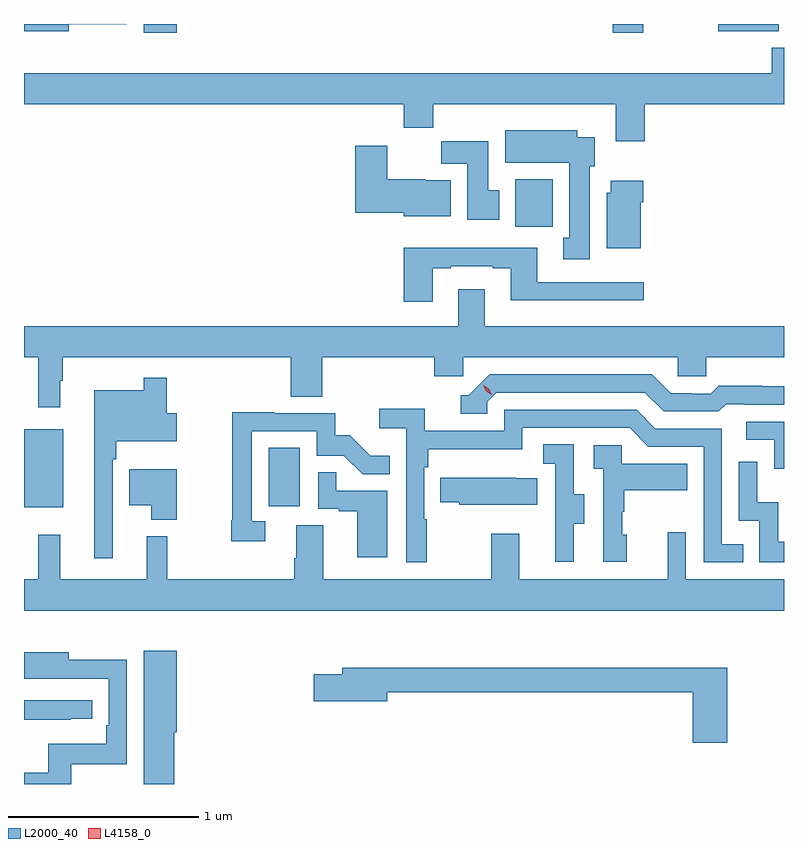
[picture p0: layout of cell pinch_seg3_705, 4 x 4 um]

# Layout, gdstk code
import gdstk
lib = gdstk.Library(unit=1e-6, precision=1e-09)
def R(c, l, rs):  # rectangles x0, y0, x1, y1
    for r in rs: c.add(gdstk.rectangle(r[:2], r[2:], *l))
def P(c, l, *ps):  # polygons
    for p in ps: c.add(gdstk.Polygon(p, *l))
L2000_40 = (2000, 40)
L4158_0 = (4158, 0)

pinch_seg3_705 = lib.new_cell('pinch_seg3_705')
R(pinch_seg3_705, L2000_40, [(1119.299,681.479,1119.505,681.889), (1120.586,681.486,1120.75,681.793), (1121.885,682.956,1122.081,683.206), (1119.929,683.976,1120.102,684.023), (1122.398,683.976,1122.559,684.023)])
P(pinch_seg3_705, L2000_40, [(1123.271,684.023),(1122.648,684.023),(1122.648,684.022),(1122.953,684.022),(1122.953,683.984),(1123.271,683.984)],
  [(1119.535,684.022),(1119.84,684.022),(1119.84,684.023),(1119.299,684.023),(1119.299,683.984),(1119.535,683.984)],
  [(1122.566,683.6),(1123.299,683.6),(1123.299,683.899),(1123.235,683.899),(1123.235,683.764),(1119.299,683.764),(1119.299,683.6),(1121.297,683.6),(1121.297,683.476),(1121.453,683.476),(1121.453,683.6),(1122.413,683.6),(1122.413,683.406),(1122.566,683.406)],
  [(1122.277,683.274),(1122.304,683.274),(1122.304,683.428),(1122.211,683.428),(1122.211,683.464),(1121.831,683.464),(1121.831,683.294),(1122.17,683.294),(1122.17,682.897),(1122.137,682.897),(1122.137,682.785),(1122.277,682.785)],
  [(1121.8,683.148),(1121.743,683.148),(1121.743,683.406),(1121.494,683.406),(1121.494,683.288),(1121.633,683.288),(1121.633,682.992),(1121.8,682.992)],
  [(1121.545,683.2),(1121.412,683.2),(1121.412,683.206),(1121.212,683.206),(1121.212,683.383),(1121.042,683.383),(1121.042,683.03),(1121.298,683.03),(1121.298,683.012),(1121.545,683.012)],
  [(1122.544,683.084),(1122.557,683.084),(1122.557,683.197),(1122.386,683.197),(1122.386,683.136),(1122.365,683.136),(1122.365,682.844),(1122.544,682.844)],
  [(1121.449,682.737),(1121.545,682.737),(1121.545,682.749),(1121.765,682.749),(1121.765,682.737),(1121.861,682.737),(1121.861,682.568),(1122.562,682.568),(1122.562,682.665),(1122.001,682.665),(1122.001,682.846),(1121.297,682.846),(1121.297,682.56),(1121.449,682.56)],
  [(1121.725,682.627),(1121.585,682.627),(1121.585,682.432),(1119.299,682.432),(1119.299,682.268),(1119.373,682.268),(1119.373,682.005),(1119.49,682.005),(1119.49,682.145),(1119.502,682.145),(1119.502,682.268),(1120.703,682.268),(1120.703,682.06),(1120.868,682.06),(1120.868,682.268),(1121.459,682.268),(1121.459,682.17),(1121.61,682.17),(1121.61,682.268),(1122.741,682.268),(1122.741,682.17),(1122.891,682.17),(1122.891,682.268),(1123.299,682.268),(1123.299,682.432),(1121.725,682.432)],
  [(1121.736,682.035),(1121.784,682.083),(1122.567,682.083),(1122.666,681.984),(1122.955,681.984),(1122.994,682.023),(1123.093,682.023),(1123.093,682.02),(1123.299,682.02),(1123.299,682.117),(1123.188,682.117),(1123.188,682.12),(1122.955,682.12),(1122.913,682.077),(1122.81,682.077),(1122.81,682.08),(1122.703,682.08),(1122.604,682.179),(1121.751,682.179),(1121.64,682.068),(1121.597,682.068),(1121.597,681.972),(1121.736,681.972)],
  [(1119.765,681.731),(1119.785,681.731),(1119.785,681.827),(1120.102,681.827),(1120.102,681.975),(1120.051,681.975),(1120.051,682.162),(1119.93,682.162),(1119.93,682.096),(1119.668,682.096),(1119.668,681.21),(1119.765,681.21)],
  [(1121.419,681.416),(1121.406,681.416),(1121.406,681.689),(1121.426,681.689),(1121.426,681.785),(1121.922,681.785),(1121.922,681.897),(1122.486,681.897),(1122.585,681.798),(1122.876,681.798),(1122.876,681.189),(1123.085,681.189),(1123.085,681.285),(1122.972,681.285),(1122.972,681.894),(1122.622,681.894),(1122.523,681.993),(1121.826,681.993),(1121.826,681.882),(1121.408,681.882),(1121.408,681.998),(1121.169,681.998),(1121.169,681.896),(1121.31,681.896),(1121.31,681.189),(1121.419,681.189)],
  [(1120.57,681.405),(1120.497,681.405),(1120.497,681.879),(1120.839,681.879),(1120.839,681.75),(1120.983,681.75),(1121.081,681.652),(1121.225,681.652),(1121.225,681.751),(1121.121,681.751),(1121.014,681.858),(1120.938,681.858),(1120.938,681.975),(1120.619,681.975),(1120.619,681.98),(1120.396,681.98),(1120.396,681.412),(1120.389,681.412),(1120.389,681.3),(1120.57,681.3)],
  [(1123.299,681.93),(1123.101,681.93),(1123.101,681.834),(1123.248,681.834),(1123.248,681.681),(1123.299,681.681)],
  [(1122.193,681.394),(1122.247,681.394),(1122.247,681.549),(1122.192,681.549),(1122.192,681.812),(1122.033,681.812),(1122.033,681.709),(1122.096,681.709),(1122.096,681.405),(1122.095,681.405),(1122.095,681.192),(1122.193,681.192)],
  [(1122.472,681.336),(1122.447,681.336),(1122.447,681.455),(1122.457,681.455),(1122.457,681.569),(1122.791,681.569),(1122.791,681.709),(1122.444,681.709),(1122.444,681.807),(1122.297,681.807),(1122.297,681.683),(1122.348,681.683),(1122.348,681.192),(1122.472,681.192)],
  [(1123.299,681.298),(1123.268,681.298),(1123.268,681.506),(1123.158,681.506),(1123.158,681.718),(1123.062,681.718),(1123.062,681.408),(1123.17,681.408),(1123.17,681.189),(1123.299,681.189)],
  [(1120.102,681.679),(1119.854,681.679),(1119.854,681.491),(1119.968,681.491),(1119.968,681.413),(1120.102,681.413)],
  [(1121.212,681.567),(1120.943,681.567),(1120.943,681.665),(1120.848,681.665),(1120.848,681.471),(1120.955,681.471),(1120.955,681.459),(1121.054,681.459),(1121.054,681.216),(1121.212,681.216)],
  [(1121.999,681.631),(1121.891,681.631),(1121.891,681.634),(1121.491,681.634),(1121.491,681.505),(1121.589,681.505),(1121.589,681.494),(1121.999,681.494)],
  [(1123.299,681.1),(1122.783,681.1),(1122.783,681.349),(1122.686,681.349),(1122.686,681.1),(1121.905,681.1),(1121.905,681.34),(1121.758,681.34),(1121.758,681.1),(1120.873,681.1),(1120.873,681.386),(1120.733,681.386),(1120.733,681.212),(1120.721,681.212),(1120.721,681.1),(1120.054,681.1),(1120.054,681.328),(1119.944,681.328),(1119.944,681.1),(1119.491,681.1),(1119.491,681.334),(1119.373,681.334),(1119.373,681.1),(1119.299,681.1),(1119.299,680.936),(1123.299,680.936)],
  [(1120.09,680.295),(1120.102,680.295),(1120.102,680.725),(1119.929,680.725),(1119.929,680.023),(1120.09,680.023)],
  [(1119.547,680.127),(1119.84,680.127),(1119.84,680.678),(1119.535,680.678),(1119.535,680.716),(1119.299,680.716),(1119.299,680.576),(1119.431,680.576),(1119.431,680.577),(1119.744,680.577),(1119.744,680.332),(1119.731,680.332),(1119.731,680.236),(1119.426,680.236),(1119.426,680.081),(1119.299,680.081),(1119.299,680.023),(1119.547,680.023)],
  [(1123.001,680.635),(1120.973,680.635),(1120.973,680.601),(1120.824,680.601),(1120.824,680.459),(1121.212,680.459),(1121.212,680.506),(1122.818,680.506),(1122.818,680.241),(1123.001,680.241)],
  [(1119.545,680.367),(1119.658,680.367),(1119.658,680.463),(1119.299,680.463),(1119.299,680.362),(1119.545,680.362)])
P(pinch_seg3_705, L4158_0, [(1121.762,682.071),(1121.731,682.09),(1121.715,682.123),(1121.715,682.123),(1121.715,682.123),(1121.746,682.104),(1121.762,682.071),(1121.762,682.071)])

lib.write_gds('pinch_seg3_705.gds')
